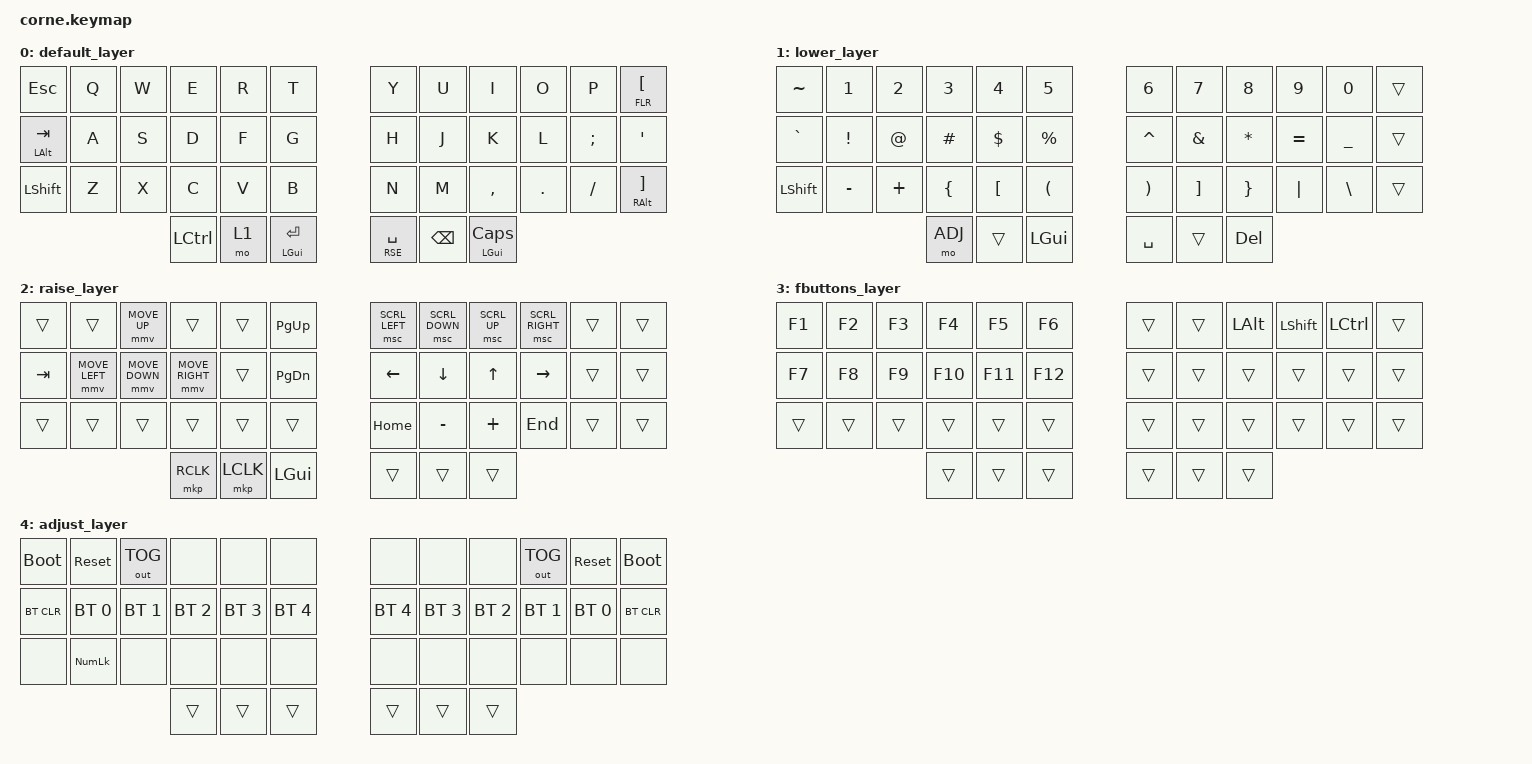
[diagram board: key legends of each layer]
/*
 * Copyright (c) 2020 The ZMK Contributors
 *
 * SPDX-License-Identifier: MIT
 *
 * https://github.com/devpew/corne-keyboard-layout/blob/main/config/corne.keymap
 */

#define ZMK_POINTING_DEFAULT_MOVE_VAL 1500
#define ZMK_POINTING_DEFAULT_SCRL_VAL 20

#include <behaviors.dtsi>
#include <dt-bindings/zmk/keys.h>
#include <dt-bindings/zmk/bt.h>
#include <dt-bindings/zmk/outputs.h>
#include <behaviors.dtsi>
#include <dt-bindings/zmk/pointing.h>

#define DEF 0
#define LWR 1
#define RSE 2
#define FLR 3
#define ADJ 4

&lt { quick_tap_ms = <219>; };
&mt { quick_tap_ms = <219>; };

/ {
    combos {
        compatible = "zmk,combos";

        ParaLeft {
            bindings = <&kp LEFT_PARENTHESIS>;
            key-positions = <4 5>;
            timeout-ms = <20>;
        };

        ParaRight {
            bindings = <&kp RIGHT_PARENTHESIS>;
            key-positions = <6 7>;
            timeout-ms = <20>;
        };

        BrakLeft {
            bindings = <&kp LEFT_BRACKET>;
            key-positions = <16 17>;
            timeout-ms = <20>;
        };

        BrakRight {
            bindings = <&kp RIGHT_BRACKET>;
            key-positions = <18 19>;
            timeout-ms = <20>;
        };

        BraceLeft {
            bindings = <&kp LEFT_BRACE>;
            key-positions = <28 29>;
            timeout-ms = <20>;
        };

        BraceRight {
            bindings = <&kp RIGHT_BRACE>;
            key-positions = <30 31>;
            timeout-ms = <20>;
        };

        DoubleQuote {
            bindings = <&kp DOUBLE_QUOTES>;
            key-positions = <15 16>;
            timeout-ms = <20>;
        };

        SingleQuote {
            bindings = <&kp APOSTROPHE>;
            key-positions = <19 20>;
            timeout-ms = <20>;
        };

        //LangRu {
        //    bindings = <&kp LG(F11)>;
        //    key-positions = <0 1>;
        //    timeout-ms = <20>;
        //};

        //LangUs {
        //   bindings = <&kp LG(F12)>;
        //    key-positions = <10 11>;
        //    timeout-ms = <20>;
        //};

        //LangRuL {
        //    bindings = <&kp LG(F11)>;
        //    key-positions = <36 38>;
        //    timeout-ms = <20>;
        //};

        //LangUsL {
        //    bindings = <&kp LG(F12)>;
        //    key-positions = <39 41>;
        //    timeout-ms = <20>;
        //};

        TildaSign {
            bindings = <&kp TILDE>;
            key-positions = <0 12>;
            timeout-ms = <20>;
        };

        GraveSign {
            bindings = <&kp GRAVE>;
            key-positions = <12 24>;
            timeout-ms = <20>;
        };

        MinusSign {
            bindings = <&kp MINUS>;
            key-positions = <3 4>;
            timeout-ms = <20>;
        };

        PlusSign {
            bindings = <&kp PLUS>;
            key-positions = <2 3>;
            timeout-ms = <20>;
        };

        UnderscoreSign {
            bindings = <&kp UNDERSCORE>;
            key-positions = <7 8>;
            timeout-ms = <20>;
        };

        PipeSign {
            bindings = <&kp PIPE>;
            key-positions = <8 9>;
            timeout-ms = <20>;
        };
        Mainbootloaderleft {
            bindings = <&bootloader>;
            key-positions = <0 4>;
            timeout-ms = <20>;
        };
        Mainbootloaderright {
            bindings = <&bootloader>;
            key-positions = <7 11>;
            timeout-ms = <20>;
        };
    };
};
/ {
        keymap {
                compatible = "zmk,keymap";

                default_layer {
                        bindings = <
            // ╭────────────────┬─────────────┬─────────────┬─────────────┬─────────────┬─────────────╮   ╭─────────────┬─────────────┬─────────────┬─────────────┬─────────────┬─────────────╮
                  &kp ESC          &kp Q         &kp W         &kp E           &kp R        &kp T              &kp Y         &kp U           &kp I         &kp O         &kp P         &lt FLR LEFT_BRACKET
            // ├────────────────┼─────────────┼─────────────┼─────────────┼─────────────┼─────────────┤   ├─────────────┼─────────────┼─────────────┼─────────────┼─────────────┼─────────────┤
                  &mt LALT TAB     &kp A         &kp S         &kp D           &kp F        &kp G              &kp H         &kp J          &kp K         &kp L         &kp SEMI      &kp SQT
            // ├────────────────┼─────────────┼─────────────┼─────────────┼─────────────┼─────────────┤   ├─────────────┼─────────────┼─────────────┼─────────────┼─────────────┼─────────────┤
                  &kp LSHFT        &kp Z         &kp X         &kp C           &kp V        &kp B              &kp N         &kp M         &kp COMMA     &kp DOT       &kp FSLH      &mt RALT RIGHT_BRACKET
            // ╰────────────────┴─────────────┼─────────────┼─────────────┼─────────────┼─────────────┤   ├─────────────┼─────────────┼─────────────┼─────────────┼─────────────┴─────────────╯
                                                               &kp LCTRL       &mo 1      &mt LGUI RET     &lt RSE SPACE   &kp BSPC     &mt LGUI CAPSLOCK
            //                                              ╰─────────────┴─────────────┴─────────────╯   ╰─────────────┴─────────────┴─────────────╯
                        >;
                };
                lower_layer {
                        bindings = <
            // ╭─────────────┬─────────────┬────────────┬────────────┬────────────┬─────────────╮   ╭─────────────┬────────────┬─────────────┬─────────────┬─────────────┬─────────────╮
                  &kp TILDE      &kp N1        &kp N2       &kp N3       &kp N4       &kp N5            &kp N6        &kp N7       &kp N8        &kp N9        &kp N0        &trans
            // ├─────────────┼─────────────┼────────────┼────────────┼────────────┼─────────────┤   ├─────────────┼────────────┼─────────────┼─────────────┼─────────────┼─────────────┤
                  &kp GRAVE      &kp EXCL      &kp AT      &kp HASH     &kp DLLR     &kp PRCNT         &kp CARET     &kp AMPS     &kp ASTRK     &kp EQUAL     &kp UNDER      &trans
            // ├─────────────┼─────────────┼────────────┼────────────┼────────────┼─────────────┤   ├─────────────┼────────────┼─────────────┼─────────────┼─────────────┼─────────────┤
                  &kp LSHFT      &kp MINUS    &kp PLUS     &kp LBRC     &kp LBKT     &kp LPAR          &kp RPAR      &kp RBKT     &kp RBRC      &kp PIPE      &kp BSLH       &trans
            // ╰─────────────┴─────────────┼────────────┼────────────┼────────────┼─────────────┤   ├─────────────┼────────────┼─────────────┼─────────────┼─────────────┴─────────────╯
                                                            &mo ADJ      &trans      &kp LGUI          &kp SPACE      &trans       &kp DEL
            //                                          ╰────────────┴────────────┴─────────────╯   ╰─────────────┴────────────┴─────────────╯
                        >;
                };
                raise_layer {
                        bindings = <
            // ╭─────────────┬────────────────┬──────────────────┬─────────────────┬─────────────────┬───────────────╮   ╭───────────────────┬──────────────────┬─────────────────┬───────────────────┬─────────────┬─────────────╮
                   &trans           &trans        &mmv MOVE_UP         &trans            &trans          &kp PG_UP           &msc SCRL_LEFT     &msc SCRL_DOWN      &msc SCRL_UP     &msc SCRL_RIGHT      &trans        &trans
            // ├─────────────┼────────────────┼──────────────────┼─────────────────┼─────────────────┼───────────────┤   ├───────────────────┼──────────────────┼─────────────────┼───────────────────┼─────────────┼─────────────┤
                   &kp TAB     &mmv MOVE_LEFT    &mmv MOVE_DOWN    &mmv MOVE_RIGHT       &trans          &kp PG_DN             &kp LEFT           &kp DOWN            &kp UP           &kp RIGHT          &trans        &trans
            // ├─────────────┼────────────────┼──────────────────┼─────────────────┼─────────────────┼───────────────┤   ├───────────────────┼──────────────────┼─────────────────┼───────────────────┼─────────────┼─────────────┤
                   &trans           &trans          &trans             &trans            &trans           &trans               &kp HOME           &kp MINUS          &kp PLUS           &kp END           &trans        &trans
            // ╰─────────────┴────────────────┼──────────────────┼─────────────────┼─────────────────┼───────────────┤   ├───────────────────┼──────────────────┼─────────────────┼───────────────────┼─────────────┴─────────────╯
                                                                      &mkp RCLK         &mkp LCLK         &kp LGUI              &trans              &trans            &trans
                  //                                             ╰─────────────────┴─────────────────┴───────────────╯   ╰───────────────────┴──────────────────┴─────────────────╯
                        >; 
                };
                fbuttons_layer {
                        bindings = <
            // ╭─────────────┬─────────────┬─────────────┬─────────────┬─────────────┬─────────────╮   ╭─────────────┬─────────────┬─────────────┬─────────────┬─────────────┬─────────────╮
                   &kp F1        &kp F2        &kp F3         &kp F4        &kp F5        &kp F6            &trans        &trans       &kp LALT     &kp LSHFT     &kp LCTRL      &trans
            // ├─────────────┼─────────────┼─────────────┼─────────────┼─────────────┼─────────────┤   ├─────────────┼─────────────┼─────────────┼─────────────┼─────────────┼─────────────┤
                   &kp F7        &kp F8        &kp F9         &kp F10       &kp F11       &kp F12           &trans        &trans       &trans       &trans        &trans         &trans
            // ├─────────────┼─────────────┼─────────────┼─────────────┼─────────────┼─────────────┤   ├─────────────┼─────────────┼─────────────┼─────────────┼─────────────┼─────────────┤
                   &trans        &trans        &trans         &trans        &trans        &trans            &trans        &trans       &trans       &trans        &trans         &trans
            // ╰─────────────┴─────────────┼─────────────┼─────────────┼─────────────┼─────────────┤   ├─────────────┼─────────────┼─────────────┼─────────────┼─────────────┴─────────────╯
                                                              &trans        &trans        &trans            &trans       &trans        &trans
            //                                           ╰─────────────┴─────────────┴─────────────╯   ╰─────────────┴─────────────┴─────────────╯
                        >; 
                };
                adjust_layer {
                        bindings = <
            // ╭─────────────┬─────────────┬─────────────┬─────────────┬─────────────┬─────────────╮   ╭─────────────┬─────────────┬─────────────┬─────────────┬─────────────┬─────────────╮
                 &bootloader    &sys_reset   &out OUT_TOG     &none         &none         &none             &none         &none         &none      &out OUT_TOG   &sys_reset   &bootloader
            // ├─────────────┼─────────────┼─────────────┼─────────────┼─────────────┼─────────────┤   ├─────────────┼─────────────┼─────────────┼─────────────┼─────────────┼─────────────┤
                 &bt BT_CLR    &bt BT_SEL 0  &bt BT_SEL 1  &bt BT_SEL 2  &bt BT_SEL 3  &bt BT_SEL 4      &bt BT_SEL 4  &bt BT_SEL 3   &bt BT_SEL 2  &bt BT_SEL 1  &bt BT_SEL 0  &bt BT_CLR
            // ├─────────────┼─────────────┼─────────────┼─────────────┼─────────────┼─────────────┤   ├─────────────┼─────────────┼─────────────┼─────────────┼─────────────┼─────────────┤
                   &none       &kp KP_NUM       &none         &none         &none         &none             &none         &none         &none         &none         &none         &none
            // ╰─────────────┴─────────────┼─────────────┼─────────────┼─────────────┼─────────────┤   ├─────────────┼─────────────┼─────────────┼─────────────┼─────────────┴─────────────╯
                                                              &trans        &trans        &trans            &trans        &trans        &trans
            //                                           ╰─────────────┴─────────────┴─────────────╯   ╰─────────────┴─────────────┴─────────────╯

                        >;
                };
        };
};
